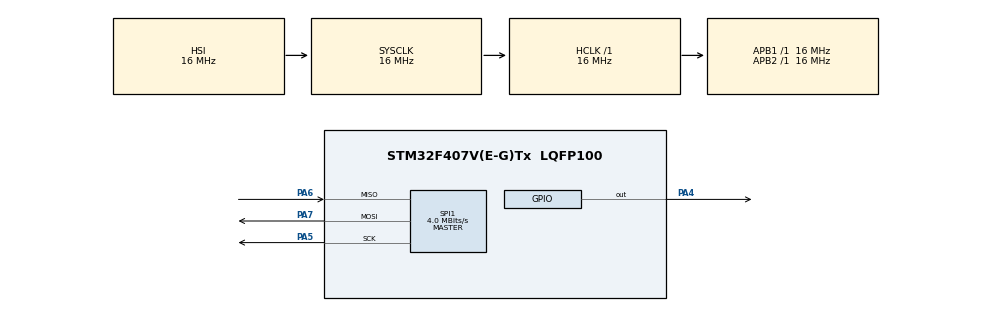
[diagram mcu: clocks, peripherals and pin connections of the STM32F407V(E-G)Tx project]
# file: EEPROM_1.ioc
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Mcu.Family=STM32F4
Mcu.Name=STM32F407V(E-G)Tx
Mcu.Package=LQFP100
NVIC.PriorityGroup=NVIC_PRIORITYGROUP_4
NVIC.SPI1_IRQn=true\:0\:0\:false\:true\:true\:1\:true\:true\:true
PA4.GPIO_PuPd=GPIO_PULLUP
PA4.Signal=GPIO_Output
PA5.Mode=Full_Duplex_Master
PA5.Signal=SPI1_SCK
PA6.Mode=Full_Duplex_Master
PA6.Signal=SPI1_MISO
PA7.Mode=Full_Duplex_Master
PA7.Signal=SPI1_MOSI
PH0-OSC_IN.Mode=HSE-External-Oscillator
PH0-OSC_IN.Signal=RCC_OSC_IN
PH1-OSC_OUT.Mode=HSE-External-Oscillator
PH1-OSC_OUT.Signal=RCC_OSC_OUT
ProjectManager.HeapSize=0x200
ProjectManager.StackSize=0x400
ProjectManager.TargetToolchain=STM32CubeIDE
RCC.AHBFreq_Value=16000000
RCC.APB1Freq_Value=16000000
RCC.APB2Freq_Value=16000000
RCC.CortexFreq_Value=16000000
RCC.HSE_VALUE=25000000
RCC.HSI_VALUE=16000000
RCC.LSE_VALUE=32768
RCC.SYSCLKFreq_VALUE=16000000
RCC.VCOOutputFreq_Value=192000000
SPI1.BaudRatePrescaler=SPI_BAUDRATEPRESCALER_4
SPI1.CLKPolarity=SPI_POLARITY_LOW
SPI1.CRCCalculation=SPI_CRCCALCULATION_DISABLE
SPI1.CalculateBaudRate=4.0 MBits/s
SPI1.Direction=SPI_DIRECTION_2LINES
SPI1.Mode=SPI_MODE_MASTER
SPI1.VirtualType=VM_MASTER
board=custom

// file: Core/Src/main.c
/* USER CODE BEGIN Header */
/**
  ******************************************************************************
  * @file           : main.c
  * @brief          : Main program body
  ******************************************************************************
  * @attention
  *
  * Copyright (c) 2023 STMicroelectronics.
  * All rights reserved.
  *
  * This software is licensed under terms that can be found in the LICENSE file
  * in the root directory of this software component.
  * If no LICENSE file comes with this software, it is provided AS-IS.
  *
  ******************************************************************************
  */
/* USER CODE END Header */
#include "main.h"

/* USER CODE BEGIN Includes */
#include"eeprom.h"
/* USER CODE END Includes */

SPI_HandleTypeDef hspi1;

/* USER CODE BEGIN PV */
uint8_t *rxbuf;
uint8_t *txbuf;
/* USER CODE END PV */

void SystemClock_Config(void);
static void MX_GPIO_Init(void);
static void MX_SPI1_Init(void);
static void MX_NVIC_Init(void);

int main(void)
{

  /* MCU Configuration--------------------------------------------------------*/

  /* Reset of all peripherals, Initializes the Flash interface and the Systick. */
  HAL_Init();

  /* Configure the system clock */
  SystemClock_Config();

  /* Initialize all configured peripherals */
  MX_GPIO_Init();
  MX_SPI1_Init();

  /* Initialize interrupts */
  MX_NVIC_Init();
  /* USER CODE BEGIN 2 */
  rxbuf=hspi1.pRxBuffPtr;
  txbuf=hspi1.pTxBuffPtr;
  buffer(rxbuf,txbuf);
  char rec[2];

  rec[0] = 0;
  rec[1] = 0;
//  WDT_A_hold(WDT_A_BASE);
//  __enable_interrupt();
//  P10DIR |= 0x01;
//  P10OUT &= ~0x01;
  BSP_EEPROM_Init();
  char a = 7;
  BSP_EEPROM_WriteFlags(0x75);
  rec[0] = BSP_EEPROM_ReadFlags();
  BSP_EEPROM_WriteFlags(a);
  rec[1] = BSP_EEPROM_ReadFlags();

//  #pragma vector = SPI2
//  __interrupt void USCI_A2_ISR(void)
//  {
//    __bic_SR_register(GIE);
//    __no_operation();
//    switch(__even_in_range(UCA2IV,12))
//    {
//    case  0: break;                           // Vector  0: No interrupts
//    case  2:
//      {
//       testing_flag_read=1;
//          break;
//      }                           // Vector  2: ALIFG
//    case  4:
//      {
//        testing_flag=1;
//      break;
//      }
//      // Vector  4: NACKIFG
//    case  6:
//      break;
//       // Vector  6: STTIFG
//    case  8: break;                           // Vector  8: STPIFG
//    case 10: //RXIE
//      break;
//    case 12: //TXIE
//
//      break;
//    default: break;
//    }
//
//   __bis_SR_register(GIE);
//    __no_operation();
//  }
//  void spi1ConfigInterrupts(void)
//  {
//	  //enable SPI1 interrupt in NVIC
//	  NVIC->ISER[1]|=(1u<<3);
//	  //RXNE event triggered at 1/2 (16 bit) RX FIFO level
//	  SPI1->CR2&= ~(1u<<12);
//	  //Enable receive buffer not empty interrupt request generation
//	  SPI1->CR2|=(1u<<6);
//  }

  /* USER CODE END 2 */

  /* Infinite loop */
  while (1)
  {

  }
}

void SystemClock_Config(void)
{
  RCC_OscInitTypeDef RCC_OscInitStruct = {0};
  RCC_ClkInitTypeDef RCC_ClkInitStruct = {0};

  /** Configure the main internal regulator output voltage
  */
  __HAL_RCC_PWR_CLK_ENABLE();
  __HAL_PWR_VOLTAGESCALING_CONFIG(PWR_REGULATOR_VOLTAGE_SCALE1);

  /** Initializes the RCC Oscillators according to the specified parameters
  * in the RCC_OscInitTypeDef structure.
  */
  RCC_OscInitStruct.OscillatorType = RCC_OSCILLATORTYPE_HSI;
  RCC_OscInitStruct.HSIState = RCC_HSI_ON;
  RCC_OscInitStruct.HSICalibrationValue = RCC_HSICALIBRATION_DEFAULT;
  RCC_OscInitStruct.PLL.PLLState = RCC_PLL_NONE;
  if (HAL_RCC_OscConfig(&RCC_OscInitStruct) != HAL_OK)
  {
    Error_Handler();
  }

  /** Initializes the CPU, AHB and APB buses clocks
  */
  RCC_ClkInitStruct.ClockType = RCC_CLOCKTYPE_HCLK|RCC_CLOCKTYPE_SYSCLK
                              |RCC_CLOCKTYPE_PCLK1|RCC_CLOCKTYPE_PCLK2;
  RCC_ClkInitStruct.SYSCLKSource = RCC_SYSCLKSOURCE_HSI;
  RCC_ClkInitStruct.AHBCLKDivider = RCC_SYSCLK_DIV1;
  RCC_ClkInitStruct.APB1CLKDivider = RCC_HCLK_DIV1;
  RCC_ClkInitStruct.APB2CLKDivider = RCC_HCLK_DIV1;

  if (HAL_RCC_ClockConfig(&RCC_ClkInitStruct, FLASH_LATENCY_0) != HAL_OK)
  {
    Error_Handler();
  }
}

/**
  * @brief NVIC Configuration.
  * @retval None
  */
static void MX_NVIC_Init(void)
{
  /* SPI1_IRQn interrupt configuration */
  HAL_NVIC_SetPriority(SPI1_IRQn, 0, 0);
  HAL_NVIC_EnableIRQ(SPI1_IRQn);
}

static void MX_SPI1_Init(void)
{

  /* SPI1 parameter configuration*/
  hspi1.Instance = SPI1;
  hspi1.Init.Mode = SPI_MODE_MASTER;
  hspi1.Init.Direction = SPI_DIRECTION_2LINES;
  hspi1.Init.DataSize = SPI_DATASIZE_8BIT;
  hspi1.Init.CLKPolarity = SPI_POLARITY_LOW;
  hspi1.Init.CLKPhase = SPI_PHASE_1EDGE;
  hspi1.Init.NSS = SPI_NSS_SOFT;
  hspi1.Init.BaudRatePrescaler = SPI_BAUDRATEPRESCALER_4;
  hspi1.Init.FirstBit = SPI_FIRSTBIT_MSB;
  hspi1.Init.TIMode = SPI_TIMODE_DISABLE;
  hspi1.Init.CRCCalculation = SPI_CRCCALCULATION_DISABLE;
  hspi1.Init.CRCPolynomial = 10;
  if (HAL_SPI_Init(&hspi1) != HAL_OK)
  {
    Error_Handler();
  }

}

static void MX_GPIO_Init(void)
{
  GPIO_InitTypeDef GPIO_InitStruct = {0};

  /* GPIO Ports Clock Enable */
  __HAL_RCC_GPIOH_CLK_ENABLE();
  __HAL_RCC_GPIOA_CLK_ENABLE();

  /*Configure GPIO pin Output Level */
  HAL_GPIO_WritePin(GPIOA, GPIO_PIN_4, GPIO_PIN_RESET);

  /*Configure GPIO pin : PA4 */
  GPIO_InitStruct.Pin = GPIO_PIN_4;
  GPIO_InitStruct.Mode = GPIO_MODE_OUTPUT_PP;
  GPIO_InitStruct.Pull = GPIO_PULLUP;
  GPIO_InitStruct.Speed = GPIO_SPEED_FREQ_LOW;
  HAL_GPIO_Init(GPIOA, &GPIO_InitStruct);

}

void Error_Handler(void)
{
  __disable_irq();
  while (1)
  {
  }
}
